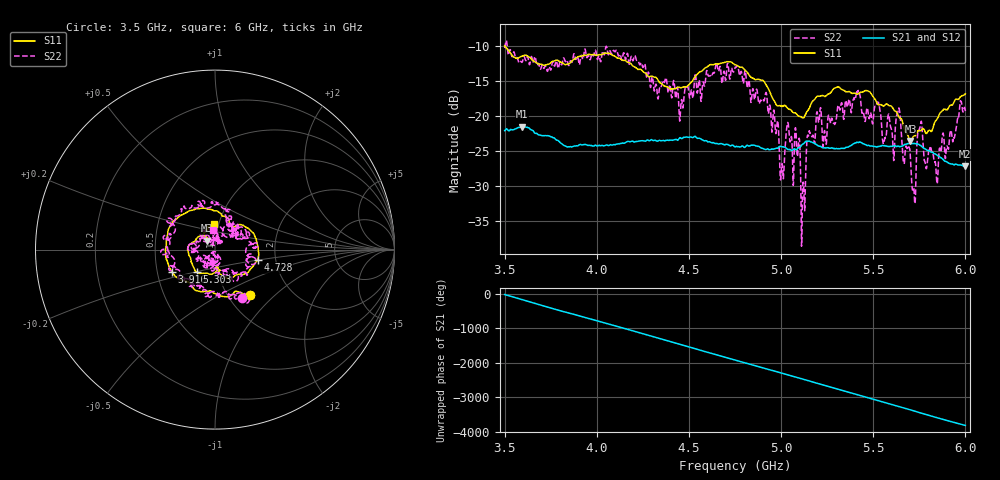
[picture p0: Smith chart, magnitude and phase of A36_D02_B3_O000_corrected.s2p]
! Created with skrf 1.9.0 (http://scikit-rf.org).
# Hz S RI R 50.0
!freq ReS11 ImS11 ReS21 ImS21 ReS12 ImS12 ReS22 ImS22
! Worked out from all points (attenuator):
!   1601 points, 3.5 GHz to 6 GHz, reference 50 ohm
!   highest |S21| = -21.50 dB at 3.592 GHz (marker M1); lowest = -27.2 dB at 5.998 GHz (marker M2)
!   lowest |S11| = -23.6 dB at 5.702 GHz (marker M3), VSWR 1.14, Z = 45.5 + j4.5 ohm
!   |S11| at or under -10 dB: 3.503 GHz to end of sweep
!   |S22| runs from -38.6 to -9.2 dB; largest |S21 - S12| = 0.001
!   S11 on the Smith chart (normalised r, x): 3.5 GHz: 1.27, -0.71; 3.916 GHz: 0.60, -0.16; 4.728 GHz: 1.61, -0.20; 5.303 GHz: 0.79, -0.20; 6 GHz: 0.95, +0.28
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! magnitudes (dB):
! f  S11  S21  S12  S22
! 3.5 GHz  -9.9  -22.1  -22.0  -10.3
! 3.592 GHz  -11.4  -21.5  -21.5  -12.3
! 3.916 GHz  -11.4  -24.1  -24.1  -11.3
! 3.917 GHz  -11.4  -24.1  -24.1  -11.3
! 4.334 GHz  -15.0  -23.5  -23.5  -17.3
! 4.728 GHz  -12.2  -24.2  -24.1  -13.4
! 4.75 GHz  -12.6  -24.4  -24.3  -13.1
! 4.927 GHz  -15.8  -24.7  -24.7  -18.5
! 5.005 GHz  -18.5  -24.4  -24.4  -26.8
! 5.034 GHz  -18.8  -24.7  -24.6  -21.1
! 5.088 GHz  -19.8  -24.7  -24.7  -25.8
! 5.119 GHz  -20.2  -24.0  -23.9  -29.5
! 5.167 GHz  -18.0  -23.7  -23.7  -22.9
! 5.303 GHz  -15.9  -24.7  -24.6  -19.6
! 5.584 GHz  -18.5  -24.3  -24.3  -19.7
! 5.638 GHz  -20.0  -24.3  -24.3  -18.9
! 5.702 GHz  -23.6  -24.0  -23.9  -25.9
! 5.72 GHz  -22.8  -23.9  -23.9  -30.3
! 5.755 GHz  -22.1  -24.2  -24.1  -21.4
! 5.842 GHz  -20.5  -25.5  -25.4  -28.3
! 5.998 GHz  -16.8  -27.2  -27.1  -19.0
! 6 GHz  -16.8  -27.2  -27.1  -19.3
